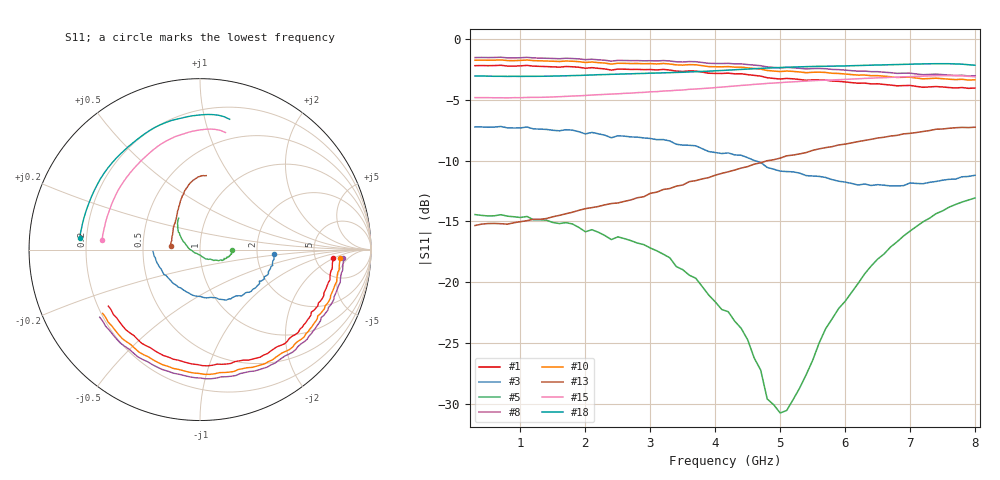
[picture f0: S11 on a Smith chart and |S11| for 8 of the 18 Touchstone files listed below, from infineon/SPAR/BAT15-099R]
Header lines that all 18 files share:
! Infineon Technologies  Discrete & RF Semiconductors
! BAT15-099R
! One-Port S-Parameters
# Hz  S  MA  R  50
!f  S11
!Hz  Mag  Ang
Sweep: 309.9 MHz to 8.006 GHz
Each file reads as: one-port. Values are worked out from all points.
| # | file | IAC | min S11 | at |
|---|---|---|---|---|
| 1 | BAT15-099R_IAC_0.1mA.s1p | 0.1 mA | -4.0 dB | 7.906 GHz |
| 2 | BAT15-099R_IAC_0.2mA.s1p | 0.2 mA | -7.7 dB | 7.206 GHz |
| 3 | BAT15-099R_IAC_0.3mA.s1p | 0.3 mA | -12.1 dB | 6.707 GHz |
| 4 | BAT15-099R_IAC_0.4mA.s1p | 0.4 mA | -18.1 dB | 5.907 GHz |
| 5 | BAT15-099R_IAC_0.5mA.s1p | 0.5 mA | -30.8 dB | 5.008 GHz |
| 6 | BAT15-099R_IAC_0.6mA.s1p | 0.6 mA | -31.7 dB | 3.908 GHz |
| 7 | BAT15-099R_IAC_0.7mA.s1p | 0.7 mA | -36.3 dB | 309.9 MHz |
| 8 | BAT15-099R_IAC_0.07mA.s1p | 0.07 mA | -3.0 dB | 7.906 GHz |
| 9 | BAT15-099R_IAC_0.8mA.s1p | 0.8 mA | -24.6 dB | 309.9 MHz |
| 10 | BAT15-099R_IAC_0.08mA.s1p | 0.08 mA | -3.4 dB | 7.906 GHz |
| 11 | BAT15-099R_IAC_0.9mA.s1p | 0.9 mA | -18.5 dB | 309.9 MHz |
| 12 | BAT15-099R_IAC_0.09mA.s1p | 0.09 mA | -3.7 dB | 7.906 GHz |
| 13 | BAT15-099R_IAC_1mA.s1p | 1 mA | -15.3 dB | 309.9 MHz |
| 14 | BAT15-099R_IAC_2mA.s1p | 2 mA | -6.8 dB | 809.6 MHz |
| 15 | BAT15-099R_IAC_3mA.s1p | 3 mA | -4.8 dB | 809.6 MHz |
| 16 | BAT15-099R_IAC_4mA.s1p | 4 mA | -3.9 dB | 809.6 MHz |
| 17 | BAT15-099R_IAC_5mA.s1p | 5 mA | -3.4 dB | 809.6 MHz |
| 18 | BAT15-099R_IAC_6mA.s1p | 6 mA | -3.1 dB | 1.01 GHz |
